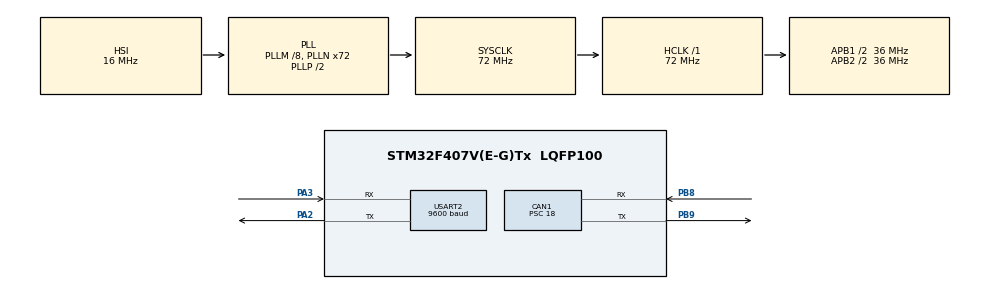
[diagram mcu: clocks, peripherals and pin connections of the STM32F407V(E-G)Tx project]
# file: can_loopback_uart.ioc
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Mcu.Family=STM32F4
PH0-OSC_IN.Signal=RCC_OSC_IN
RCC.CortexFreq_Value=72000000
CAN1.CalculateBaudRate=500000
RCC.APB1CLKDivider=RCC_HCLK_DIV2
USART2.BaudRate=9600
RCC.SYSCLKSource=RCC_SYSCLKSOURCE_PLLCLK
ProjectManager.StackSize=0x400
PA3.Mode=Asynchronous
CAN1.BS1=CAN_BS1_2TQ
ProjectManager.TargetToolchain=STM32CubeIDE
RCC.HCLKFreq_Value=72000000
PB9.Mode=CAN_Activate
RCC.APB2TimFreq_Value=72000000
RCC.LSE_VALUE=32768
RCC.AHBFreq_Value=72000000
PH0-OSC_IN.Mode=HSE-External-Oscillator
RCC.HSE_VALUE=8000000
board=STM32F407G-DISC1
RCC.VCOOutputFreq_Value=144000000
RCC.APB2Freq_Value=36000000
CAN1.Mode=CAN_MODE_LOOPBACK
PH1-OSC_OUT.Signal=RCC_OSC_OUT
Mcu.Name=STM32F407V(E-G)Tx
PA2.Signal=USART2_TX
PH1-OSC_OUT.Mode=HSE-External-Oscillator
RCC.48MHZClocksFreq_Value=20571428.57142857
RCC.SYSCLKFreq_VALUE=72000000
CAN1.Prescaler=18
PB9.Signal=CAN1_TX
Mcu.Package=LQFP100
USART2.VirtualMode=VM_ASYNC
ProjectManager.HeapSize=0x200
RCC.HSI_VALUE=16000000
RCC.PLLQ=7
NVIC.PriorityGroup=NVIC_PRIORITYGROUP_0
RCC.APB2CLKDivider=RCC_HCLK_DIV2
RCC.PLLM=8
PB8.Mode=CAN_Activate
RCC.PLLN=72
RCC.APB1TimFreq_Value=72000000
PB8.Signal=CAN1_RX
PA2.Mode=Asynchronous
RCC.APB1Freq_Value=36000000
CAN1.CalculateTimeBit=2000.00
NVIC.CAN1_RX0_IRQn=true\:0\:0\:false\:false\:true\:true\:true
CAN1.CalculateTimeQuantum=500.0
PA3.Signal=USART2_RX

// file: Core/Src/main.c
/* USER CODE BEGIN Header */
/**
  ******************************************************************************
  * @file           : main.c
  * @brief          : Main program body
  ******************************************************************************
  * @attention
  *
  * <h2><center>&copy; Copyright (c) 2022 STMicroelectronics.
  * All rights reserved.</center></h2>
  *
  * This software component is licensed by ST under BSD 3-Clause license,
  * the "License"; You may not use this file except in compliance with the
  * License. You may obtain a copy of the License at:
  *                        opensource.org/licenses/BSD-3-Clause
  *
  ******************************************************************************
  */
/* USER CODE END Header */
#include "main.h"

/* USER CODE BEGIN Includes */

#include<string.h>

/* USER CODE END Includes */

CAN_HandleTypeDef hcan1;

UART_HandleTypeDef huart2;

/* USER CODE BEGIN PV */
CAN_TxHeaderTypeDef TxHeader1, TxHeader2, TxHeader3;
CAN_RxHeaderTypeDef RxHeader;
uint8_t TxData1[8], TxData2[8], TxData3[8], RxData[8];
uint32_t TxMailbox1, TxMailbox2, TxMailbox3;

/* USER CODE END PV */

void SystemClock_Config(void);
static void MX_GPIO_Init(void);
static void MX_CAN1_Init(void);
static void MX_USART2_UART_Init(void);

int main(void)
{

  /* MCU Configuration--------------------------------------------------------*/

  /* Reset of all peripherals, Initializes the Flash interface and the Systick. */
  HAL_Init();

  /* Configure the system clock */
  SystemClock_Config();

  /* Initialize all configured peripherals */
  MX_GPIO_Init();
  MX_CAN1_Init();
  MX_USART2_UART_Init();
  /* USER CODE BEGIN 2 */
  HAL_CAN_Start(&hcan1);
  HAL_CAN_ActivateNotification(&hcan1, CAN_IT_RX_FIFO0_MSG_PENDING);

  TxHeader1.TransmitGlobalTime = DISABLE;
  TxHeader1.IDE = CAN_ID_STD;
  TxHeader1.ExtId = 0;
  TxHeader1.StdId = 0x0A9;
  TxHeader1.RTR = CAN_RTR_DATA;
  TxHeader1.DLC = 1;

  TxData1[0] = 0x11;
  if(HAL_CAN_AddTxMessage(&hcan1, &TxHeader1, TxData1, &TxMailbox1) != HAL_OK)
	  Error_Handler();

  TxHeader2.TransmitGlobalTime = DISABLE;
  TxHeader2.IDE = CAN_ID_STD;
  TxHeader2.ExtId = 0;
  TxHeader2.StdId = 0x0AD;
  TxHeader2.RTR = CAN_RTR_DATA;
  TxHeader2.DLC = 1;

  TxData2[0] = 0x22;
  if(HAL_CAN_AddTxMessage(&hcan1, &TxHeader2, TxData2, &TxMailbox2) != HAL_OK)
	  Error_Handler();

  TxHeader3.TransmitGlobalTime = DISABLE;
  TxHeader3.IDE = CAN_ID_STD;
  TxHeader3.ExtId = 0;
  TxHeader3.StdId = 0x0A8;
  TxHeader3.RTR = CAN_RTR_DATA;
  TxHeader3.DLC = 8;

  strcpy((char*)TxData3, "SUNBEAM");
  if(HAL_CAN_AddTxMessage(&hcan1, &TxHeader3, TxData3, &TxMailbox3) != HAL_OK)
	  Error_Handler();

  /* USER CODE END 2 */

  /* Infinite loop */
  while (1)
  {

  }
}

void SystemClock_Config(void)
{
  RCC_OscInitTypeDef RCC_OscInitStruct = {0};
  RCC_ClkInitTypeDef RCC_ClkInitStruct = {0};

  /** Configure the main internal regulator output voltage
  */
  __HAL_RCC_PWR_CLK_ENABLE();
  __HAL_PWR_VOLTAGESCALING_CONFIG(PWR_REGULATOR_VOLTAGE_SCALE1);
  /** Initializes the RCC Oscillators according to the specified parameters
  * in the RCC_OscInitTypeDef structure.
  */
  RCC_OscInitStruct.OscillatorType = RCC_OSCILLATORTYPE_HSI;
  RCC_OscInitStruct.HSIState = RCC_HSI_ON;
  RCC_OscInitStruct.HSICalibrationValue = RCC_HSICALIBRATION_DEFAULT;
  RCC_OscInitStruct.PLL.PLLState = RCC_PLL_ON;
  RCC_OscInitStruct.PLL.PLLSource = RCC_PLLSOURCE_HSI;
  RCC_OscInitStruct.PLL.PLLM = 8;
  RCC_OscInitStruct.PLL.PLLN = 72;
  RCC_OscInitStruct.PLL.PLLP = RCC_PLLP_DIV2;
  RCC_OscInitStruct.PLL.PLLQ = 7;
  if (HAL_RCC_OscConfig(&RCC_OscInitStruct) != HAL_OK)
  {
    Error_Handler();
  }
  /** Initializes the CPU, AHB and APB buses clocks
  */
  RCC_ClkInitStruct.ClockType = RCC_CLOCKTYPE_HCLK|RCC_CLOCKTYPE_SYSCLK
                              |RCC_CLOCKTYPE_PCLK1|RCC_CLOCKTYPE_PCLK2;
  RCC_ClkInitStruct.SYSCLKSource = RCC_SYSCLKSOURCE_PLLCLK;
  RCC_ClkInitStruct.AHBCLKDivider = RCC_SYSCLK_DIV1;
  RCC_ClkInitStruct.APB1CLKDivider = RCC_HCLK_DIV2;
  RCC_ClkInitStruct.APB2CLKDivider = RCC_HCLK_DIV2;

  if (HAL_RCC_ClockConfig(&RCC_ClkInitStruct, FLASH_LATENCY_2) != HAL_OK)
  {
    Error_Handler();
  }
}

static void MX_CAN1_Init(void)
{

  hcan1.Instance = CAN1;
  hcan1.Init.Prescaler = 18;
  hcan1.Init.Mode = CAN_MODE_LOOPBACK;
  hcan1.Init.SyncJumpWidth = CAN_SJW_1TQ;
  hcan1.Init.TimeSeg1 = CAN_BS1_2TQ;
  hcan1.Init.TimeSeg2 = CAN_BS2_1TQ;
  hcan1.Init.TimeTriggeredMode = DISABLE;
  hcan1.Init.AutoBusOff = DISABLE;
  hcan1.Init.AutoWakeUp = DISABLE;
  hcan1.Init.AutoRetransmission = DISABLE;
  hcan1.Init.ReceiveFifoLocked = DISABLE;
  hcan1.Init.TransmitFifoPriority = DISABLE;
  if (HAL_CAN_Init(&hcan1) != HAL_OK)
  {
    Error_Handler();
  }
  /* USER CODE BEGIN CAN1_Init 2 */
  CAN_FilterTypeDef FilterConfig;
  FilterConfig.FilterActivation = CAN_FILTER_ENABLE;
  FilterConfig.FilterFIFOAssignment = CAN_RX_FIFO0;
  FilterConfig.SlaveStartFilterBank = 14;
  FilterConfig.FilterBank = 10;		// Any number from 0 to SlaveStartFilterBank
  FilterConfig.FilterScale = CAN_FILTERSCALE_32BIT;
  FilterConfig.FilterMode = CAN_FILTERMODE_IDMASK;	//CAN_FILTERMODE_IDLIST;
  FilterConfig.FilterMaskIdLow = 0x0000;
  FilterConfig.FilterMaskIdHigh = 0x07F8 << 5;		//id1 = 0x07FA << 5
  FilterConfig.FilterIdLow = 0x0000;
  FilterConfig.FilterIdHigh = 0x00A8 << 5;			//id2 = 0x07FB << 5

  HAL_CAN_ConfigFilter(&hcan1, &FilterConfig);

  /* USER CODE END CAN1_Init 2 */

}

static void MX_USART2_UART_Init(void)
{

  huart2.Instance = USART2;
  huart2.Init.BaudRate = 9600;
  huart2.Init.WordLength = UART_WORDLENGTH_8B;
  huart2.Init.StopBits = UART_STOPBITS_1;
  huart2.Init.Parity = UART_PARITY_NONE;
  huart2.Init.Mode = UART_MODE_TX_RX;
  huart2.Init.HwFlowCtl = UART_HWCONTROL_NONE;
  huart2.Init.OverSampling = UART_OVERSAMPLING_16;
  if (HAL_UART_Init(&huart2) != HAL_OK)
  {
    Error_Handler();
  }

}

static void MX_GPIO_Init(void)
{

  /* GPIO Ports Clock Enable */
  __HAL_RCC_GPIOH_CLK_ENABLE();
  __HAL_RCC_GPIOA_CLK_ENABLE();
  __HAL_RCC_GPIOB_CLK_ENABLE();

}

/* USER CODE BEGIN 4 */
void HAL_CAN_RxFifo0MsgPendingCallback(CAN_HandleTypeDef *hcan)
{
	char str[32];
	int i =0;
	HAL_CAN_GetRxMessage(&hcan1, CAN_RX_FIFO0, &RxHeader, RxData);
		// arg3 & arg4 -- out param

	do
	{
		str[i] = RxData;
	}while(str[i] != '\n');

}

/* USER CODE END 4 */

void Error_Handler(void)
{
  __disable_irq();
  while (1)
  {
  }
}

/************************ (C) COPYRIGHT STMicroelectronics *****END OF FILE****/
